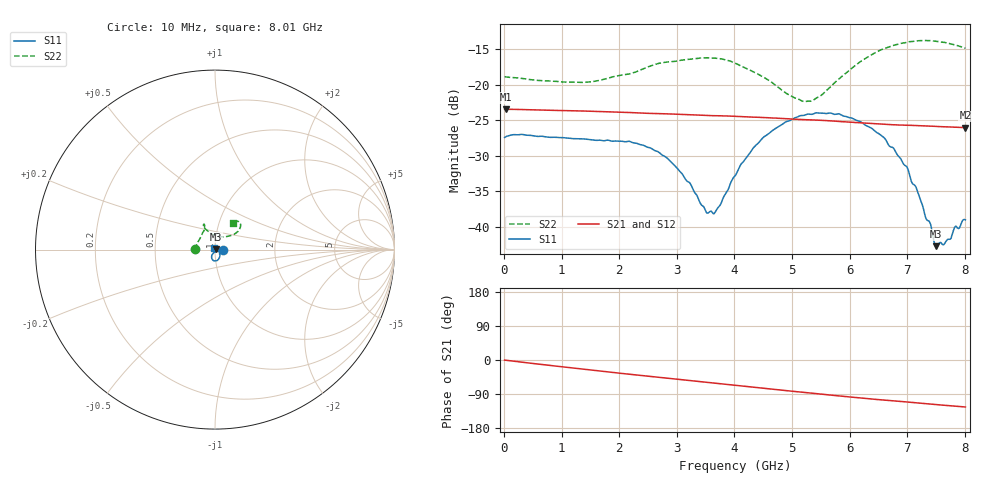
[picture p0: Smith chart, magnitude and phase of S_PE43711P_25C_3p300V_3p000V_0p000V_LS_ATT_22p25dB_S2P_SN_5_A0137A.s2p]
! Device ID: PE43711P
! File Path: z:\PE43711P\CHAR_NOM_04282014\AMB\3p300\LS_ATT_22p25dB\PE43711P_AMB_3p300V_3p000V_0p000V_LS_ATT_22p25dB_S2P_SN_5_A0137A.s2p
! Serial: 5
! Lot: A0137A
! Temp: 25C
! VDD: 3.300
! VSS: 0.000
! Control_Hi: 3.000
! Control_Lo: 0.000
! Attenuation Step: 22.25dB
! Port 1: RF1
! Port 2: RF2
! ThroughPath:1-2
! IDD: 0.0001275059
! ISS: -1.221e-007
#  Hz  S  RI  R  50
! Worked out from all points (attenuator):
!   801 points, 10 MHz to 8.01 GHz, reference 50 ohm
!   highest |S21| = -23.47 dB at 40 MHz (marker M1); lowest = -26.1 dB at 8.01 GHz (marker M2)
!   lowest |S11| = -42.8 dB at 7.5 GHz (marker M3), VSWR 1.01, Z = 50.6 + j0.421 ohm
!   |S11| at or under -10 dB: start of sweep to end of sweep
!   |S22| runs from -22.4 to -13.8 dB; largest |S21 - S12| = 0.00017
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1e7  0.0425 0.000317  0.067 -0.000282  0.0671 -0.000308  -0.1139 0.000916
4e7  0.0431 0.000352  0.067 -0.000884  0.0671 -0.000903  -0.1131 0.00256
1.35e9  0.0403 -0.00996  0.0597 -0.0262  0.0598 -0.0262  -0.0869 0.0562
2.18e9  0.0384 -0.0105  0.0503 -0.0389  0.0504 -0.0389  -0.0637 0.1007
2.68e9  0.0326 -0.00802  0.0437 -0.0447  0.0437 -0.0447  -0.0585 0.1283
3.07e9  0.023 -0.00724  0.0379 -0.0486  0.038 -0.0487  -0.0581 0.1366
3.54e9  0.00632 -0.0107  0.0309 -0.0521  0.0309 -0.0521  -0.0622 0.1415
3.68e9  0.00108 -0.0129  0.0288 -0.053  0.0288 -0.0531  -0.0636 0.1396
4.01e9  -0.00994 -0.0205  0.0235 -0.055  0.0235 -0.055  -0.0634 0.127
4.32e9  -0.0174 -0.0309  0.0185 -0.056  0.0185 -0.0561  -0.0514 0.1124
4.52e9  -0.0189 -0.0387  0.0152 -0.0566  0.0152 -0.0566  -0.041 0.1042
5.03e9  -0.0144 -0.0559  0.00714 -0.0567  0.00709 -0.0567  -0.00352 0.0812
5.35e9  -0.00572 -0.0616  0.00233 -0.0563  0.00232 -0.0564  0.0282 0.0716
6.05e9  0.0189 -0.0547  -0.00774 -0.0537  -0.00783 -0.0537  0.1022 0.083
6.4e9  0.026 -0.0411  -0.0121 -0.0518  -0.0122 -0.0519  0.1287 0.1017
6.68e9  0.0263 -0.0265  -0.015 -0.0502  -0.0151 -0.0502  0.1396 0.1205
7e9  0.0228 -0.0126  -0.0184 -0.0483  -0.0184 -0.0484  0.1431 0.1384
7.18e9  0.0169 -0.00486  -0.0203 -0.0472  -0.0202 -0.0473  0.14 0.1477
7.5e9  0.00597 0.00416  -0.0235 -0.045  -0.0235 -0.045  0.1263 0.1577
7.65e9  0.000548 0.00757  -0.0249 -0.0439  -0.0249 -0.0439  0.1185 0.159
7.83e9  -0.00464 0.00882  -0.0264 -0.0426  -0.0265 -0.0426  0.1082 0.1567
8.01e9  -0.00786 0.00791  -0.0279 -0.0413  -0.028 -0.0411  0.1002 0.1497
